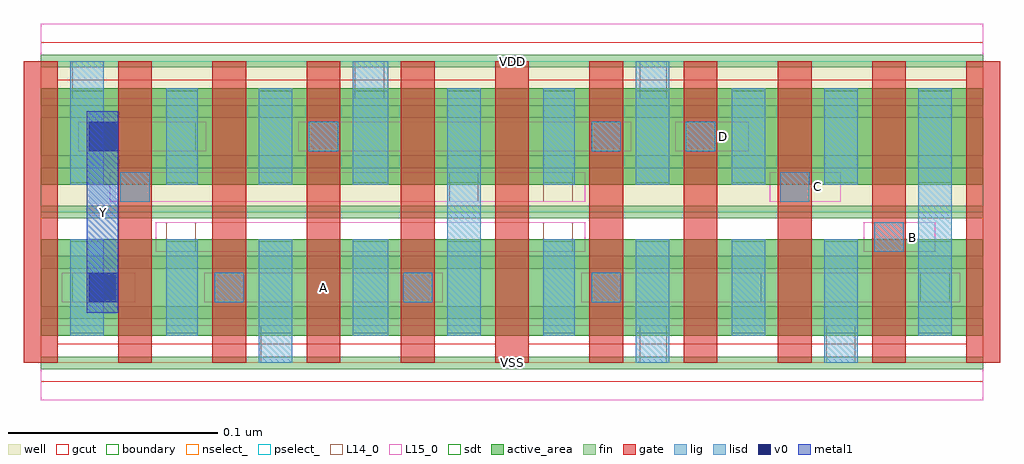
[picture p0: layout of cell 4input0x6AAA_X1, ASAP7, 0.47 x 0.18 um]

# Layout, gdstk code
import gdstk
lib = gdstk.Library(unit=1e-6, precision=1e-09)
def R(c, l, rs):  # rectangles x0, y0, x1, y1
    for r in rs: c.add(gdstk.rectangle(r[:2], r[2:], *l))
def A(c, l, x, y, w, h, nx, ny, dx, dy):  # array of equal rectangles
    R(c, l, [(x+i*dx, y+j*dy, x+i*dx+w, y+j*dy+h) for i in range(nx) for j in range(ny)])
def P(c, l, *ps):  # polygons
    for p in ps: c.add(gdstk.Polygon(p, *l))
well = (1, 0)
fin = (2, 0)
gate = (7, 0)
gcut = (10, 0)
active_area = (11, 0)
nselect_ = (12, 0)
pselect_ = (13, 0)
L14_0 = (14, 0)
L15_0 = (15, 0)
lig = (16, 0)
lisd = (17, 0)
v0 = (18, 0)
metal1 = (19, 0)
sdt = (88, 0)
boundary = (100, 0)

c_4input0x6aaa_x1 = lib.new_cell('4input0x6AAA_X1')
R(c_4input0x6aaa_x1, well, [(0,0.072,0.45,0.144)])
A(c_4input0x6aaa_x1, fin, 0, -0.003, 0.45, 0.006, 1, 7, 0, 0.024)
A(c_4input0x6aaa_x1, gate, -0.008, 0, 0.016, 0.144, 11, 1, 0.045, 0)
P(c_4input0x6aaa_x1, gcut, [(0,-0.009),(0,0),(-0.008,0),(-0.008,0.135),(0.008,0.135),(0.008,0.009),(0.217,0.009),(0.217,0.135),(0.233,0.135),(0.233,0.009),(0.442,0.009),(0.442,0.135),(-0.008,0.135),(-0.008,0.144),(0,0.144),(0,0.153),(0.45,0.153),(0.45,0.144),(0.458,0.144),(0.458,0),(0.45,0),(0.45,-0.009)])
R(c_4input0x6aaa_x1, active_area, [(0,0.013,0.45,0.059), (0,0.085,0.45,0.131)])
R(c_4input0x6aaa_x1, nselect_, [(0,0,0.45,0.072)])
R(c_4input0x6aaa_x1, pselect_, [(0,0.072,0.45,0.144)])
A(c_4input0x6aaa_x1, L14_0, 0.083, 0.029, 0.014, 0.014, 3, 1, 0.09, 0)
R(c_4input0x6aaa_x1, L14_0, [(0.105,0,0.12,0.018), (0.286,0,0.299,0.018), (0.375,0,0.389,0.018), (0.015,0.029,0.03,0.043), (0.33,0.029,0.344,0.043), (0.42,0.029,0.434,0.043), (0.06,0.053,0.074,0.067), (0.24,0.053,0.254,0.067), (0.398,0.053,0.412,0.067), (0.038,0.077,0.052,0.091), (0.195,0.077,0.209,0.091), (0.24,0.077,0.254,0.091), (0.353,0.077,0.367,0.091), (0.06,0.101,0.074,0.115), (0.128,0.101,0.142,0.115), (0.263,0.101,0.277,0.115), (0.308,0.101,0.322,0.115), (0.015,0.126,0.03,0.144), (0.15,0.126,0.164,0.144), (0.286,0.126,0.299,0.144)])
R(c_4input0x6aaa_x1, L15_0, [(0,-0.018,0.45,0.018), (0.01,0.029,0.045,0.043), (0.078,0.029,0.192,0.043), (0.258,0.029,0.439,0.043), (0.055,0.053,0.26,0.067), (0.393,0.053,0.427,0.067), (0.033,0.077,0.26,0.091), (0.348,0.077,0.382,0.091), (0.018,0.101,0.079,0.115), (0.123,0.101,0.282,0.115), (0.303,0.101,0.338,0.115), (0,0.126,0.45,0.162)])
A(c_4input0x6aaa_x1, lig, 0.083, 0.029, 0.014, 0.014, 3, 1, 0.09, 0)
R(c_4input0x6aaa_x1, lig, [(0.398,0.053,0.412,0.067), (0.038,0.077,0.052,0.091), (0.353,0.077,0.367,0.091), (0.128,0.101,0.142,0.115), (0.263,0.101,0.277,0.115), (0.308,0.101,0.322,0.115)])
R(c_4input0x6aaa_x1, lisd, [(0.104,0,0.12,0.059), (0.284,0,0.3,0.059), (0.374,0,0.39,0.059), (0.014,0.013,0.03,0.059), (0.06,0.013,0.075,0.059), (0.149,0.013,0.166,0.059), (0.194,0.013,0.21,0.131), (0.24,0.013,0.255,0.059), (0.33,0.013,0.346,0.059), (0.419,0.013,0.435,0.131), (0.014,0.085,0.03,0.144), (0.06,0.085,0.075,0.131), (0.104,0.085,0.12,0.131), (0.149,0.085,0.166,0.144), (0.24,0.085,0.255,0.131), (0.284,0.085,0.3,0.144), (0.33,0.085,0.346,0.131), (0.374,0.085,0.39,0.131)])
R(c_4input0x6aaa_x1, v0, [(0.023,0.029,0.037,0.043), (0.023,0.101,0.037,0.115)])
R(c_4input0x6aaa_x1, metal1, [(0.022,0.024,0.037,0.12)])
A(c_4input0x6aaa_x1, sdt, 0.014, 0.014, 0.016, 0.044, 4, 2, 0.09, 0.072)
R(c_4input0x6aaa_x1, sdt, [(0.06,0.014,0.075,0.058), (0.149,0.014,0.166,0.058), (0.24,0.014,0.255,0.058), (0.33,0.014,0.346,0.058), (0.374,0.014,0.39,0.058), (0.419,0.014,0.435,0.058), (0.06,0.086,0.075,0.13), (0.149,0.086,0.166,0.13), (0.24,0.086,0.255,0.13), (0.33,0.086,0.346,0.13), (0.374,0.086,0.39,0.13), (0.419,0.086,0.435,0.13)])
R(c_4input0x6aaa_x1, boundary, [(0,0,0.45,0.144)])
c_4input0x6aaa_x1.add(gdstk.Label('VSS', (0.225,0), layer=15, texttype=251))
c_4input0x6aaa_x1.add(gdstk.Label('VDD', (0.225,0.144), layer=15, texttype=251))
c_4input0x6aaa_x1.add(gdstk.Label('C', (0.371,0.084), layer=15, texttype=251))
c_4input0x6aaa_x1.add(gdstk.Label('VSS', (0.225,0), layer=15, texttype=251))
c_4input0x6aaa_x1.add(gdstk.Label('VDD', (0.225,0.144), layer=15, texttype=251))
c_4input0x6aaa_x1.add(gdstk.Label('A', (0.135,0.036), layer=15, texttype=251))
c_4input0x6aaa_x1.add(gdstk.Label('VSS', (0.225,0), layer=15, texttype=251))
c_4input0x6aaa_x1.add(gdstk.Label('VDD', (0.225,0.144), layer=15, texttype=251))
c_4input0x6aaa_x1.add(gdstk.Label('D', (0.326,0.108), layer=15, texttype=251))
c_4input0x6aaa_x1.add(gdstk.Label('VSS', (0.225,0), layer=15, texttype=251))
c_4input0x6aaa_x1.add(gdstk.Label('VDD', (0.225,0.144), layer=15, texttype=251))
c_4input0x6aaa_x1.add(gdstk.Label('B', (0.416,0.06), layer=15, texttype=251))
c_4input0x6aaa_x1.add(gdstk.Label('VSS', (0.225,0), layer=15, texttype=251))
c_4input0x6aaa_x1.add(gdstk.Label('VDD', (0.225,0.144), layer=15, texttype=251))
c_4input0x6aaa_x1.add(gdstk.Label('Y', (0.03,0.072), layer=19, texttype=251))
c_4input0x6aaa_x1.add(gdstk.Label('VSS', (0.225,0), layer=3, texttype=251))
c_4input0x6aaa_x1.add(gdstk.Label('VSS', (0.225,0), layer=3, texttype=251))
c_4input0x6aaa_x1.add(gdstk.Label('VSS', (0.225,0), layer=3, texttype=251))
c_4input0x6aaa_x1.add(gdstk.Label('VSS', (0.225,0), layer=3, texttype=251))
c_4input0x6aaa_x1.add(gdstk.Label('VSS', (0.225,0), layer=3, texttype=251))
c_4input0x6aaa_x1.add(gdstk.Label('VDD', (0.225,0.144), layer=1, texttype=251))
c_4input0x6aaa_x1.add(gdstk.Label('VDD', (0.225,0.144), layer=1, texttype=251))
c_4input0x6aaa_x1.add(gdstk.Label('VDD', (0.225,0.144), layer=1, texttype=251))
c_4input0x6aaa_x1.add(gdstk.Label('VDD', (0.225,0.144), layer=1, texttype=251))
c_4input0x6aaa_x1.add(gdstk.Label('VDD', (0.225,0.144), layer=1, texttype=251))

lib.write_gds('4input0x6AAA_X1.gds')
